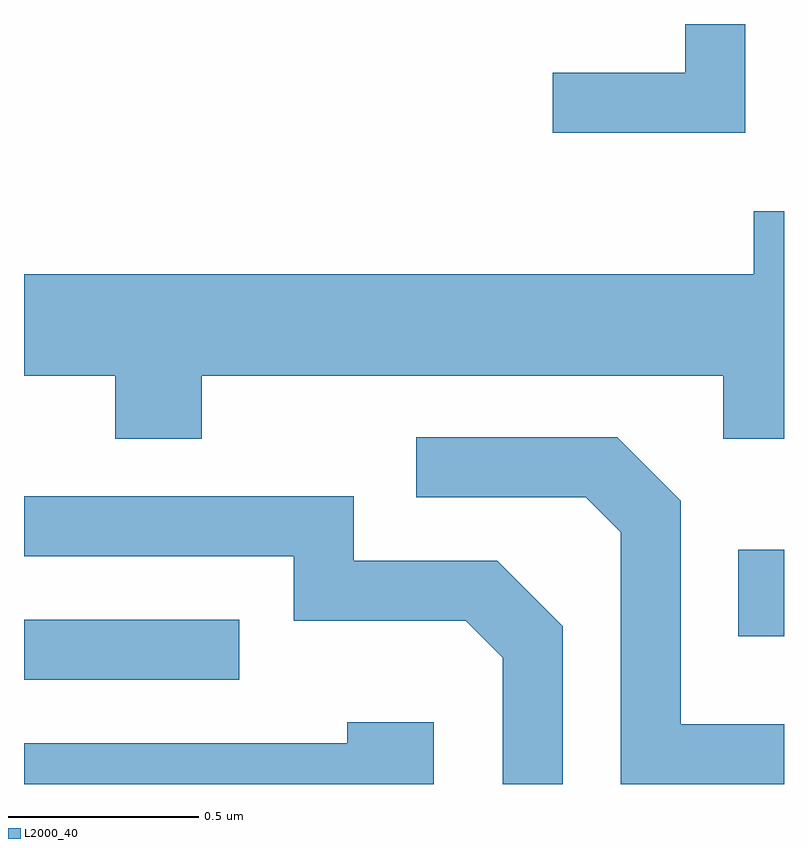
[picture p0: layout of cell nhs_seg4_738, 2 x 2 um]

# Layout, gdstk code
import gdstk
lib = gdstk.Library(unit=1e-6, precision=1e-09)
def R(c, l, rs):  # rectangles x0, y0, x1, y1
    for r in rs: c.add(gdstk.rectangle(r[:2], r[2:], *l))
def P(c, l, *ps):  # polygons
    for p in ps: c.add(gdstk.Polygon(p, *l))
L2000_40 = (2000, 40)

nhs_seg4_738 = lib.new_cell('nhs_seg4_738')
R(nhs_seg4_738, L2000_40, [(190.611,1307.256,191.178,1307.414), (192.491,1307.371,192.611,1307.599)])
P(nhs_seg4_738, L2000_40, [(192.509,1308.982),(192.351,1308.982),(192.351,1308.854),(192.003,1308.854),(192.003,1308.696),(192.509,1308.696)],
  [(191.079,1308.056),(192.451,1308.056),(192.451,1307.891),(192.611,1307.891),(192.611,1308.489),(192.531,1308.489),(192.531,1308.324),(190.611,1308.324),(190.611,1308.056),(190.851,1308.056),(190.851,1307.891),(191.079,1307.891)],
  [(192.611,1307.139),(192.339,1307.139),(192.339,1307.727),(192.172,1307.894),(191.643,1307.894),(191.643,1307.736),(192.089,1307.736),(192.181,1307.644),(192.181,1306.982),(192.611,1306.982)],
  [(192.029,1307.397),(191.857,1307.569),(191.479,1307.569),(191.479,1307.739),(190.611,1307.739),(190.611,1307.581),(191.321,1307.581),(191.321,1307.411),(191.774,1307.411),(191.871,1307.314),(191.871,1306.982),(192.029,1306.982)],
  [(191.689,1307.144),(191.461,1307.144),(191.461,1307.089),(190.611,1307.089),(190.611,1306.982),(191.689,1306.982)])

lib.write_gds('nhs_seg4_738.gds')
